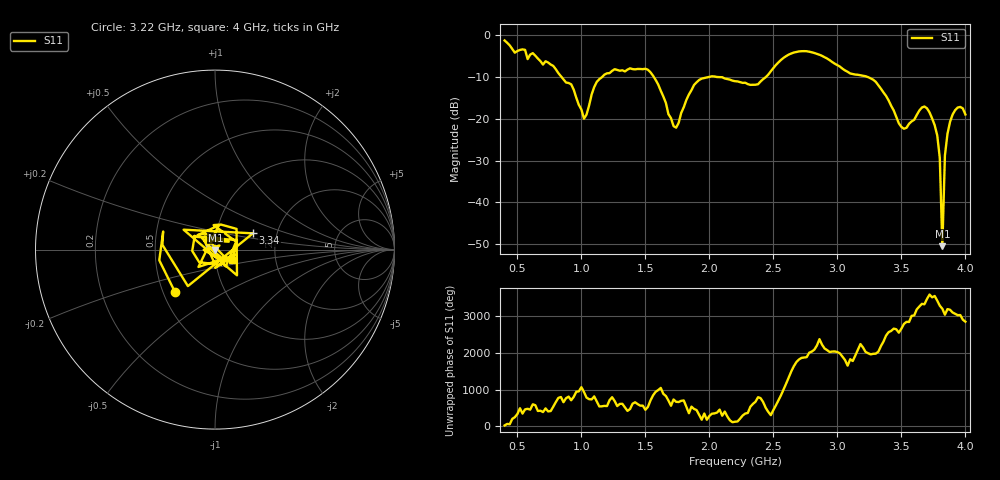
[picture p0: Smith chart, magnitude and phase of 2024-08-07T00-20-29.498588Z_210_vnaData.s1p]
!Created with skrf (http://scikit-rf.org).
# Hz S RI R 50.0
!freq ReS11 ImS11
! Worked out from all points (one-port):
!   181 points, 400 MHz to 4 GHz, reference 50 ohm
!   lowest |S11| = -50.5 dB at 3.82 GHz (marker M1), VSWR 1.01, Z = 50.2 - j0.193 ohm
!   |S11| at or under -10 dB: 1.567 GHz to 1.99 GHz (423.3 MHz wide, 23.8 % of centre); 2.089 GHz to 2.44 GHz (351.1 MHz wide, 15.5 % of centre); 3.24 GHz to end of sweep (the widest 3 of 4)
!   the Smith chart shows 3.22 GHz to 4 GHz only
!   S11 on the Smith chart (normalised r, x): 3.22 GHz: 0.58, -0.30; 3.34 GHz: 1.50, +0.29; 4 GHz: 1.21, -0.14
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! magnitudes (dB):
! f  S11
! 400 MHz  -1.2
! 860 MHz  -10.5
! 920 MHz  -11.7
! 1.02 GHz  -20.0
! 1.12 GHz  -11.1
! 1.3 GHz  -8.5
! 1.52 GHz  -8.2
! 1.6 GHz  -11.8
! 1.72 GHz  -21.7
! 1.76 GHz  -21.0
! 1.92 GHz  -10.7
! 2.2 GHz  -11.0
! 2.38 GHz  -11.7
! 2.66 GHz  -4.1
! 2.86 GHz  -4.6
! 3.1 GHz  -9.1
! 3.22 GHz  -9.8
! 3.34 GHz  -12.8
! 3.5 GHz  -21.9
! 3.56 GHz  -21.2
! 3.68 GHz  -17.0
! 3.76 GHz  -21.5
! 3.8 GHz  -29.4
! 3.82 GHz  -50.5
! 3.84 GHz  -28.8
! 3.86 GHz  -23.6
! 3.92 GHz  -17.9
! 4 GHz  -19.0
